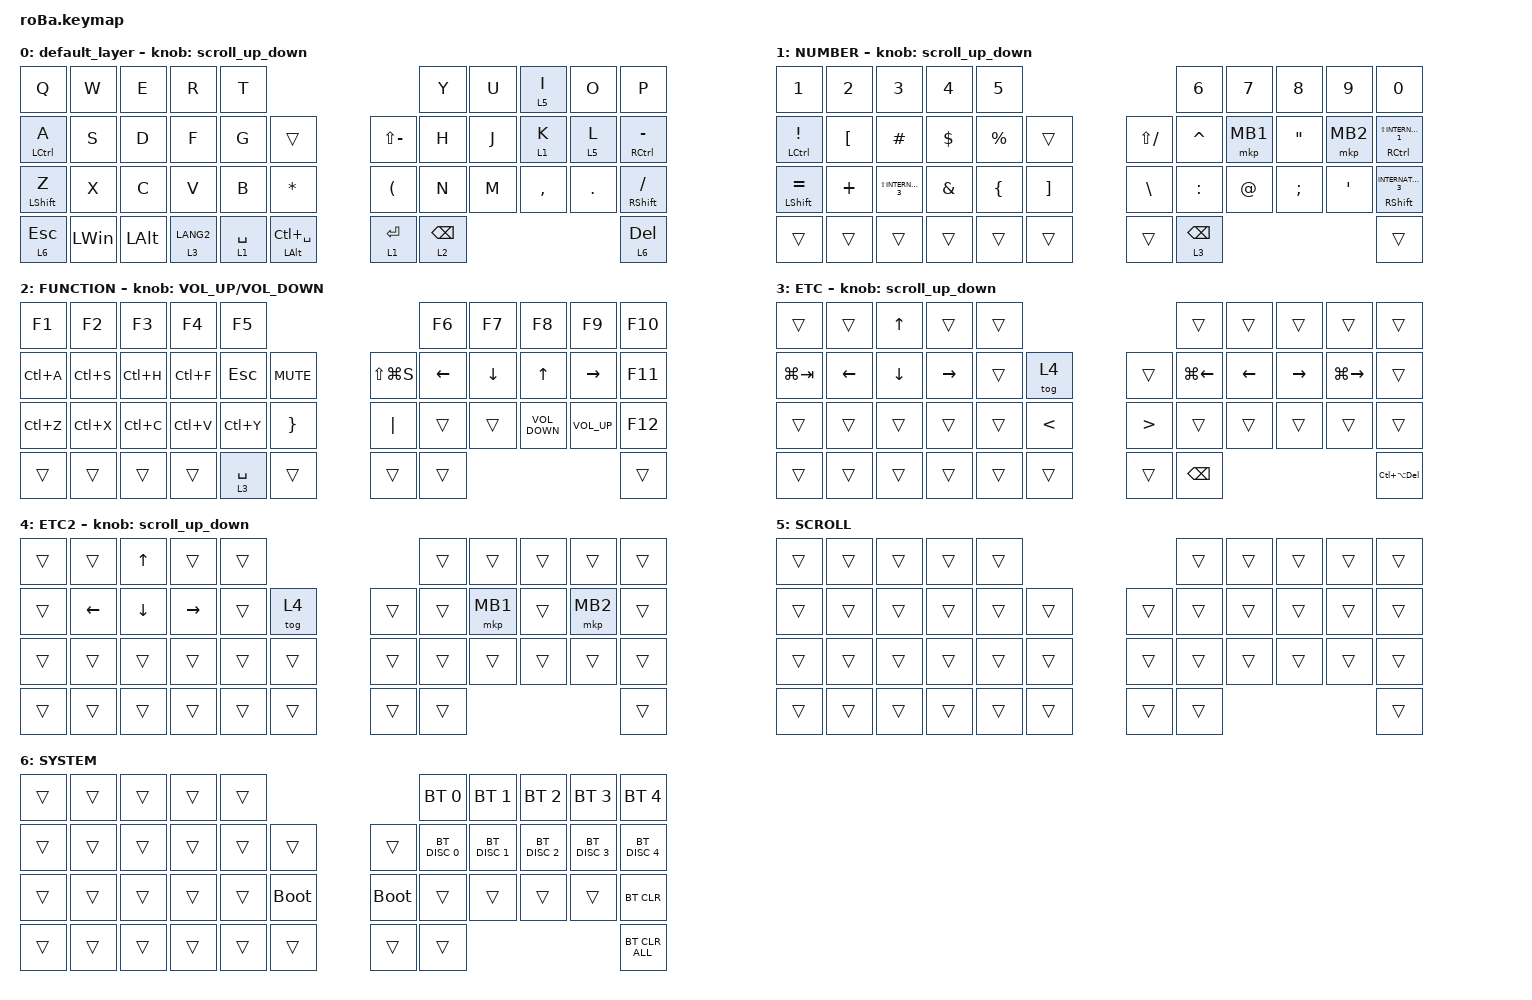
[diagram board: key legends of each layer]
#include <behaviors.dtsi>
#include <dt-bindings/zmk/bt.h>
#include <dt-bindings/zmk/keys.h>
#include <dt-bindings/zmk/pointing.h>
#include <dt-bindings/zmk/pointing.h>

#define ZMK_POINTING_DEFAULT_SCRL_VAL 100
#define MOUSE 4
#define SCROLL 5
#define NUM 6

&mt {
    flavor = "balanced";
    quick-tap-ms = <0>;
};

/ {
    combos {
        compatible = "zmk,combos";

        tab {
            bindings = <&kp TAB>;
            key-positions = <11 12>;
        };

        shift_tab {
            bindings = <&kp LS(TAB)>;
            key-positions = <12 13>;
        };

        muhennkann {
            bindings = <&to_layer_0 INT_MUHENKAN>;
            key-positions = <11 10>;
        };

        double_quotation {
            bindings = <&kp DOUBLE_QUOTES>;
            key-positions = <20 21>;
        };

        eq {
            bindings = <&kp EQUAL>;
            key-positions = <24 25>;
        };
    };

    macros {
        to_layer_0: to_layer_0 {
            compatible = "zmk,behavior-macro-one-param";
            #binding-cells = <1>;
            bindings = <&to 0 &macro_param_1to1 &kp MACRO_PLACEHOLDER>;
            label = "TO_LAYER_0";
        };
    };

    behaviors {
        lt_to_layer_0: lt_to_layer_0 {
            compatible = "zmk,behavior-hold-tap";
            label = "LAYER_TAP_TO_0";
            bindings = <&mo>, <&to_layer_0>;

            #binding-cells = <2>;
            tapping-term-ms = <200>;
        };

        scroll_up_down: behavior_sensor_rotate_mouse_wheel_up_down {
            compatible = "zmk,behavior-sensor-rotate";
            #sensor-binding-cells = <0>;
            bindings = <&msc SCRL_UP>, <&msc SCRL_DOWN>;

            tap-ms = <20>;
        };
    };

    keymap {
        compatible = "zmk,keymap";

        default_layer {
            bindings = <
&kp Q               &kp W         &kp E         &kp R        &kp T                                                          &kp Y            &kp U  &lt 5 I    &kp O    &kp P
&mt LEFT_CONTROL A  &kp S         &kp D         &kp F        &kp G        &trans                      &kp LS(MINUS)         &kp H            &kp J  &lt 1 K    &lt 5 L  &mt RIGHT_CONTROL MINUS
&mt LEFT_SHIFT Z    &kp X         &kp C         &kp V        &kp B        &kp ASTERISK                &kp LEFT_PARENTHESIS  &kp N            &kp M  &kp COMMA  &kp DOT  &mt RIGHT_SHIFT SLASH
&lt 6 ESCAPE        &kp LEFT_WIN  &kp LEFT_ALT  &lt 3 LANG2  &lt 1 SPACE  &mt LEFT_ALT LC(SPACE)      &lt 1 ENTER           &lt 2 BACKSPACE                             &lt 6 DELETE
            >;

            sensor-bindings = <&scroll_up_down>;
        };

        NUMBER {
            bindings = <
&kp NUMBER_1                  &kp NUMBER_2      &kp NUMBER_3             &kp NUMBER_4   &kp NUMBER_5                                          &kp NUMBER_6     &kp NUMBER_7  &kp NUMBER_8       &kp NUMBER_9      &kp NUMBER_0
&mt LEFT_CONTROL EXCLAMATION  &kp LEFT_BRACKET  &kp HASH                 &kp DOLLAR     &kp PERCENT     &trans                 &kp LS(SLASH)  &kp CARET        &mkp MB1      &kp DOUBLE_QUOTES  &mkp MB2          &mt RIGHT_CONTROL LS(INTERNATIONAL_1)
&mt LEFT_SHIFT EQUAL          &kp PLUS          &kp LS(INTERNATIONAL_3)  &kp AMPERSAND  &kp LEFT_BRACE  &kp RIGHT_BRACKET      &kp BACKSLASH  &kp COLON        &kp AT_SIGN   &kp SEMICOLON      &kp SINGLE_QUOTE  &mt RIGHT_SHIFT INTERNATIONAL_3
&trans                        &trans            &trans                   &trans         &trans          &trans                 &trans         &lt 3 BACKSPACE                                                     &trans
            >;

            sensor-bindings = <&scroll_up_down>;
        };

        FUNCTION {
            bindings = <
&kp F1     &kp F2     &kp F3     &kp F4     &kp F5                                           &kp F6    &kp F7    &kp F8             &kp F9           &kp F10
&kp LC(A)  &kp LC(S)  &kp LC(H)  &kp LC(F)  &kp ESCAPE   &kp C_MUTE           &kp LS(LG(S))  &kp LEFT  &kp DOWN  &kp UP             &kp RIGHT        &kp F11
&kp LC(Z)  &kp LC(X)  &kp LC(C)  &kp LC(V)  &kp LC(Y)    &kp RIGHT_BRACE      &kp PIPE       &trans    &trans    &kp C_VOLUME_DOWN  &kp C_VOLUME_UP  &kp F12
&trans     &trans     &trans     &trans     &lt 3 SPACE  &trans               &trans         &trans                                                  &trans
            >;

            sensor-bindings = <&inc_dec_kp C_VOLUME_UP C_VOLUME_DOWN>;
        };

        ETC {
            bindings = <
&trans       &trans    &kp UP    &trans     &trans                                       &trans         &trans    &trans     &trans         &trans
&kp LG(TAB)  &kp LEFT  &kp DOWN  &kp RIGHT  &trans  &tog 4             &trans            &kp LG(LEFT)   &kp LEFT  &kp RIGHT  &kp LG(RIGHT)  &trans
&trans       &trans    &trans    &trans     &trans  &kp LESS_THAN      &kp GREATER_THAN  &trans         &trans    &trans     &trans         &trans
&trans       &trans    &trans    &trans     &trans  &trans             &trans            &kp BACKSPACE                                      &kp LC(LA(DELETE))
            >;

            sensor-bindings = <&scroll_up_down>;
        };

        ETC2 {
            bindings = <
&trans  &trans    &kp UP    &trans     &trans                      &trans  &trans    &trans  &trans    &trans
&trans  &kp LEFT  &kp DOWN  &kp RIGHT  &trans  &tog 4      &trans  &trans  &mkp MB1  &trans  &mkp MB2  &trans
&trans  &trans    &trans    &trans     &trans  &trans      &trans  &trans  &trans    &trans  &trans    &trans
&trans  &trans    &trans    &trans     &trans  &trans      &trans  &trans                              &trans
            >;

            sensor-bindings = <&scroll_up_down>;
        };

        SCROLL {
            bindings = <
&trans  &trans  &trans  &trans  &trans                      &trans  &trans  &trans  &trans  &trans
&trans  &trans  &trans  &trans  &trans  &trans      &trans  &trans  &trans  &trans  &trans  &trans
&trans  &trans  &trans  &trans  &trans  &trans      &trans  &trans  &trans  &trans  &trans  &trans
&trans  &trans  &trans  &trans  &trans  &trans      &trans  &trans                          &trans
            >;
        };

        SYSTEM {
            bindings = <
&trans  &trans  &trans  &trans  &trans                                &bt BT_SEL 0   &bt BT_SEL 1   &bt BT_SEL 2   &bt BT_SEL 3   &bt BT_SEL 4
&trans  &trans  &trans  &trans  &trans  &trans           &trans       &bt BT_DISC 0  &bt BT_DISC 1  &bt BT_DISC 2  &bt BT_DISC 3  &bt BT_DISC 4
&trans  &trans  &trans  &trans  &trans  &bootloader      &bootloader  &trans         &trans         &trans         &trans         &bt BT_CLR
&trans  &trans  &trans  &trans  &trans  &trans           &trans       &trans                                                      &bt BT_CLR_ALL
            >;
        };
    };
};
